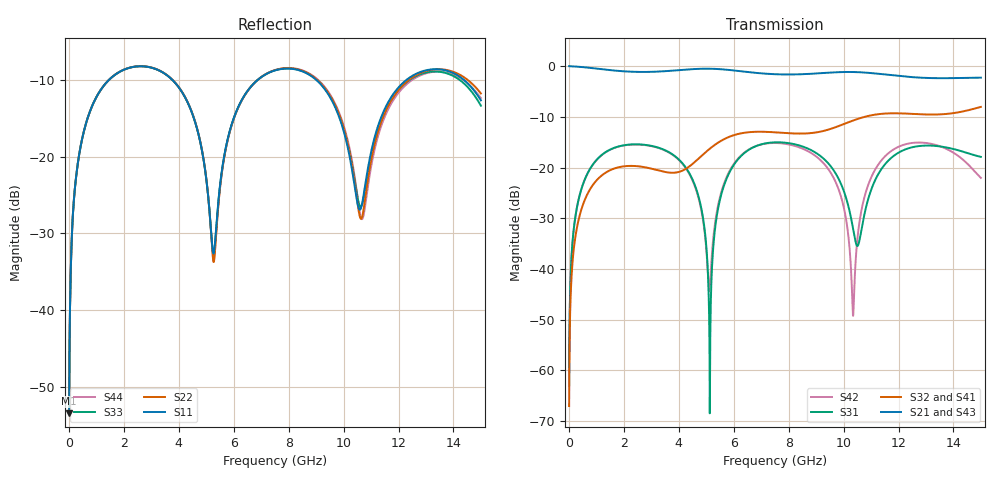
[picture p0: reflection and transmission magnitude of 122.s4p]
! Created with skrf 1.8.0 (http://scikit-rf.org).
# GHz S RI R 50.0
!freq ReS11 ImS11 ReS12 ImS12 ReS13 ImS13
! ReS14 ImS14
! ReS21 ImS21 ReS22 ImS22 ReS23 ImS23
! ReS24 ImS24
! ReS31 ImS31 ReS32 ImS32 ReS33 ImS33
! ReS34 ImS34
! ReS41 ImS41 ReS42 ImS42 ReS43 ImS43
! ReS44 ImS44
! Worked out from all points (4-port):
!   2499 points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, 5 MHz to 15 GHz, reference 50 ohm
!   strongest paths, dB at 5 MHz, 3.476 GHz, 7.19 GHz, 11.1 GHz, 15 GHz:
!     S21: 0.0, -1.0, -1.5, -1.4, -2.3
!     S43: 0.0, -1.0, -1.5, -1.4, -2.2
!     S32: -67.0, -20.8, -13.0, -9.6, -8.0
!     S41: -67.0, -20.9, -13.0, -9.6, -8.0
!     S31: -63.0, -16.5, -15.2, -23.1, -17.9
!     S42: -63.0, -16.6, -15.3, -20.9, -22.0
!   lowest |S11| = -53.4 dB at 5 MHz (marker M1), VSWR 1.00, Z = 50.2 + j0.129 ohm
!   |S11| at or under -10 dB: start of sweep to 1.457 GHz; 3.763 GHz to 6.874 GHz (3.112 GHz wide, 58.5 % of centre); 9.003 GHz to 12.29 GHz (3.288 GHz wide, 30.9 % of centre) (the widest 3 of 4)
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0.005  0.0017 0.00128  0.9983 -0.0033  8.65e-05 0.000706  -8.38e-05 -0.000437
       0.9983 -0.0033  0.0017 0.00128  -8.38e-05 -0.000437  8.65e-05 0.000706
       8.65e-05 0.000706  -8.38e-05 -0.000437  0.0017 0.00128  0.9983 -0.0033
       -8.38e-05 -0.000437  8.65e-05 0.000706  0.9983 -0.0033  0.0017 0.00128
0.3126303  0.0255 0.0842  0.9651 -0.2052  0.0123 0.0417  -0.0101 -0.0255
           0.9651 -0.2052  0.0255 0.0842  -0.0101 -0.0255  0.0122 0.0417
           0.0123 0.0417  -0.0101 -0.0255  0.0255 0.0842  0.9651 -0.2052
           -0.0101 -0.0255  0.0122 0.0417  0.9651 -0.2052  0.0255 0.0842
1.569404  0.2825 0.1703  0.5184 -0.7459  0.1409 0.0605  -0.096 -0.000396
          0.5184 -0.7459  0.2828 0.1702  -0.096 -0.000392  0.1398 0.0622
          0.1409 0.0605  -0.096 -0.000392  0.2825 0.1703  0.5184 -0.7459
          -0.096 -0.000396  0.1398 0.0622  0.5184 -0.7459  0.2828 0.1702
5.127136  0.026 -0.033  -0.9278 -0.1634  -0.000283 -0.00025  -0.0218 0.1517
          -0.9278 -0.1634  0.0235 -0.0345  -0.0217 0.1517  0.00624 0.00154
          -0.000283 -0.00025  -0.0217 0.1517  0.0257 -0.0334  -0.9278 -0.1635
          -0.0218 0.1517  0.00624 0.00154  -0.9278 -0.1635  0.0239 -0.0348
6.646519  0.2307 0.1731  -0.6374 0.5865  0.1482 0.0454  0.184 0.1277
          -0.6374 0.5865  0.2284 0.1754  0.1841 0.1277  0.1485 0.0468
          0.1482 0.0454  0.1841 0.1277  0.2303 0.1737  -0.6373 0.5865
          0.184 0.1277  0.1485 0.0468  -0.6373 0.5865  0.2291 0.175
10.66694  0.0457 0.0171  0.8606 0.1081  -0.00318 0.0255  0.0305 -0.309
          0.8606 0.1081  0.0394 0.0071  0.0299 -0.3091  0.0237 0.0321
          -0.00318 0.0255  0.0299 -0.3091  0.0474 0.00926  0.8605 0.1105
          0.0305 -0.309  0.0237 0.0321  0.8605 0.1105  0.0391 -0.00111
15  0.1999 -0.1191  -0.5245 -0.5629  -0.1125 -0.0597  -0.2915 0.269
    -0.5245 -0.5629  0.226 -0.1248  -0.2906 0.2693  -0.0706 -0.0355
    -0.1125 -0.0597  -0.2906 0.2693  0.1849 -0.1091  -0.5332 -0.561
    -0.2915 0.269  -0.0706 -0.0355  -0.5332 -0.561  0.2122 -0.1139
